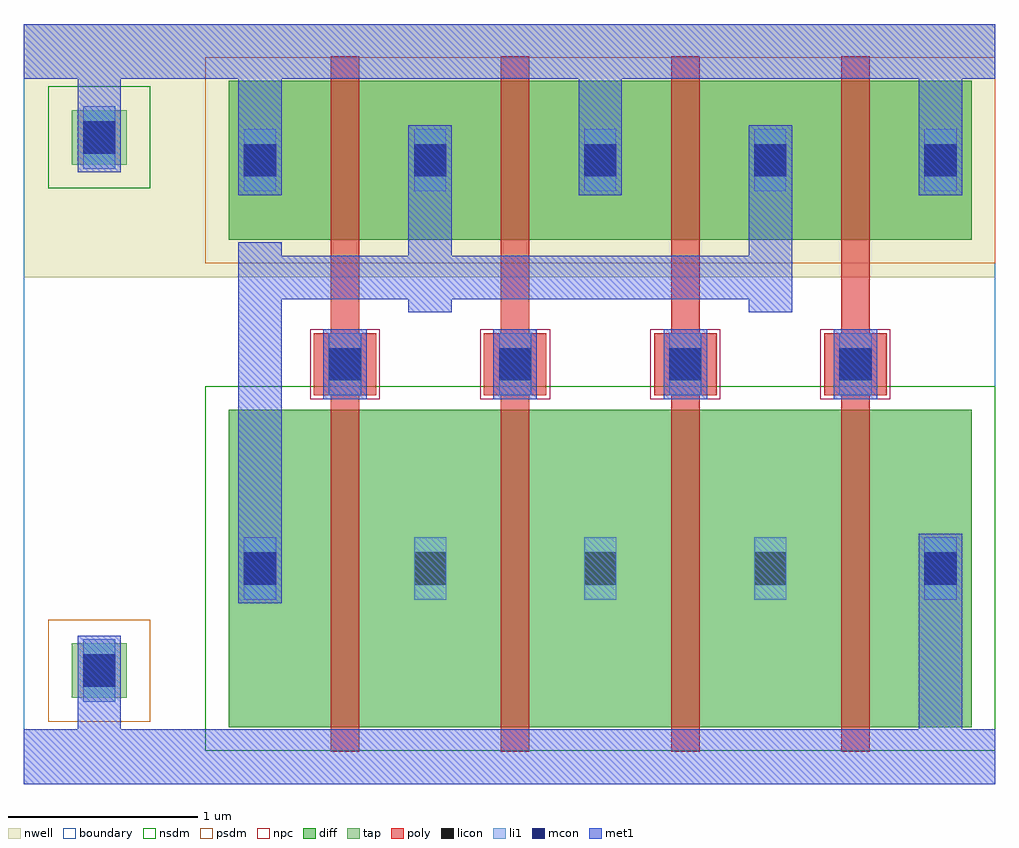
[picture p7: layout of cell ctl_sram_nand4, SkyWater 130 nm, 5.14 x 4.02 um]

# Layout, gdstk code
import gdstk
lib = gdstk.Library(unit=1e-6, precision=1e-09)
def R(c, l, rs):  # rectangles x0, y0, x1, y1
    for r in rs: c.add(gdstk.rectangle(r[:2], r[2:], *l))
def A(c, l, x, y, w, h, nx, ny, dx, dy):  # array of equal rectangles
    R(c, l, [(x+i*dx, y+j*dy, x+i*dx+w, y+j*dy+h) for i in range(nx) for j in range(ny)])
nwell = (64, 20)
diff = (65, 20)
tap = (65, 44)
poly = (66, 20)
licon = (66, 44)
li1 = (67, 20)
mcon = (67, 44)
met1 = (68, 20)
nsdm = (93, 44)
psdm = (94, 20)
npc = (95, 20)
boundary = (235, 4)

ctl_sram_nand4 = lib.new_cell('ctl_sram_nand4')
R(ctl_sram_nand4, nwell, [(0,2.68,5.14,4.02)])
R(ctl_sram_nand4, diff, [(1.085,0.3,5.015,1.98), (1.085,2.88,5.015,3.72)])
R(ctl_sram_nand4, tap, [(0.255,0.455,0.545,0.745), (0.255,3.275,0.545,3.565)])
A(ctl_sram_nand4, poly, 1.625, 0.17, 0.15, 3.68, 4, 1, 0.9, 0)
A(ctl_sram_nand4, poly, 1.535, 2.055, 0.33, 0.33, 4, 1, 0.9, 0)
A(ctl_sram_nand4, licon, 1.165, 1.055, 0.17, 0.17, 5, 2, 0.9, 2.16)
A(ctl_sram_nand4, licon, 1.615, 2.135, 0.17, 0.17, 4, 1, 0.9, 0)
R(ctl_sram_nand4, licon, [(0.315,0.515,0.485,0.685), (0.315,3.335,0.485,3.505)])
A(ctl_sram_nand4, li1, 1.165, 0.975, 0.17, 0.33, 5, 2, 0.9, 2.16)
A(ctl_sram_nand4, li1, 1.615, 2.055, 0.17, 0.33, 4, 1, 0.9, 0)
R(ctl_sram_nand4, li1, [(0.315,0.435,0.485,0.765), (0.315,3.255,0.485,3.585)])
A(ctl_sram_nand4, mcon, 1.615, 2.135, 0.17, 0.17, 4, 1, 0.9, 0)
A(ctl_sram_nand4, mcon, 1.165, 3.215, 0.17, 0.17, 5, 1, 0.9, 0)
R(ctl_sram_nand4, mcon, [(0.315,0.515,0.485,0.685), (1.165,1.055,1.335,1.225), (4.765,1.055,4.935,1.225), (0.315,3.335,0.485,3.505)])
A(ctl_sram_nand4, met1, 1.585, 2.035, 0.23, 0.37, 4, 1, 0.9, 0)
A(ctl_sram_nand4, met1, 1.135, 3.115, 0.23, 0.76, 3, 1, 1.8, 0)
R(ctl_sram_nand4, met1, [(0,0,5.14,0.29), (0.285,0.145,0.515,0.6), (4.735,0.145,4.965,1.325), (0.285,0.415,0.515,0.785), (1.135,0.955,1.365,2.865), (2.035,2.495,2.265,3.485), (3.835,2.495,4.065,3.485), (1.135,2.565,4.065,2.795), (0.285,3.235,0.515,3.605), (0.285,3.42,0.515,3.875), (0,3.73,5.14,4.02)])
R(ctl_sram_nand4, nsdm, [(0.96,0.175,5.14,2.105), (0.13,3.15,0.67,3.69)])
R(ctl_sram_nand4, psdm, [(0.13,0.33,0.67,0.87), (0.96,2.755,5.14,3.845)])
A(ctl_sram_nand4, npc, 1.515, 2.035, 0.37, 0.37, 4, 1, 0.9, 0)
R(ctl_sram_nand4, boundary, [(0,0,5.14,4.02)])

lib.write_gds('ctl_sram_nand4.gds')
